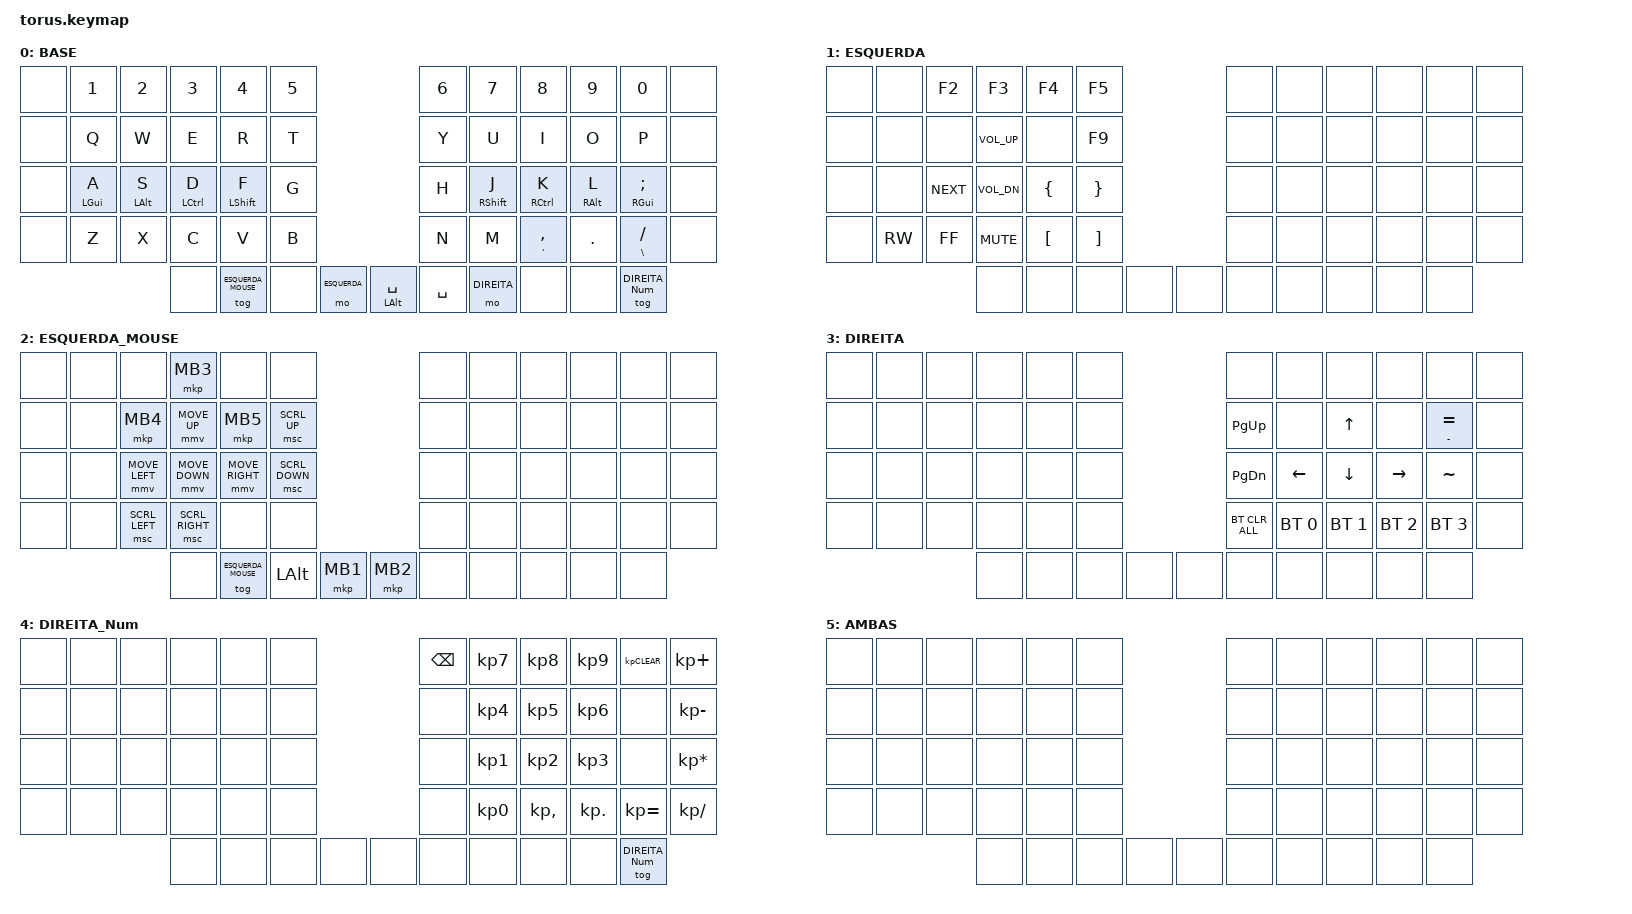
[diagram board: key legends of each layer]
//Inicio das incluçoes

#include <behaviors.dtsi>
#include <dt-bindings/zmk/bt.h>
#include <dt-bindings/zmk/keys.h>
#include <dt-bindings/zmk/pointing.h>
#include <dt-bindings/zmk/pointing.h>
#include <dt-bindings/zmk/pointing.h>

//Fim das incluçoes
//Inicio das definiçoes de configurações
//MOUSE

#define ZMK_POINTING_DEFAULT_MOVE_VAL 1000  // padrão: 600
#define ZMK_POINTING_DEFAULT_SCRL_VAL 20    // padrão: 10

//Fim das definiçoes de configurações
//Inicio das definiçoes das camadas

#define BASE 0
#define ESQUERDA 1
#define ESQUERDA_MOUSE 2
#define DIREITA 3
#define DIREITA_Num 4
#define AMBAS 5

//Fim das definiçoes das camadas
//Inicio dos comportamentos de teclas
//MT = MOD-TAP, se eu tocar o SHIFT pelo tempo menor que delimitei, ele vira o caps_word, caso eu continue pressionando o shift, ele se mantem como shift 

&mt {
    flavor = "tap-preferred";
    tapping-term-ms = <250>;
    require-prior-idle-ms = <125>;
    quick-tap-ms = <100>;
};

//SK = 

&sk {
    release-after-ms = <2000>;
    quick-release;
};

//Fim dos comportamentos de teclas

/ {
    // Ative a camada 'AMBAS' pressionando DIREITA e ESQUERDA

    conditional_layers {
        compatible = "zmk,conditional-layers";

        AMBAS_layer {
            if-layers = <ESQUERDA  DIREITA>;
            then-layer = <AMBAS>;
        };
    };

    //Fim
    //Inicio  Combos

    combos {
        compatible = "zmk,combos";

        Backspace-Dir {
            timeout-ms = <30>;
            bindings = <&kp BACKSPACE>;
            key-positions = <22 21>;
        };

        CapsLock {
            timeout-ms = <30>;
            key-positions = <25 13>;
            bindings = <&kp CAPSLOCK>;
        };

        Sen1 {
            bindings = <&Sen1>;
            key-positions = <16 15 29>;
            layers = <1>;
        };

        Enter-Dir {
            bindings = <&kp ENTER>;
            key-positions = <18 19>;
            layers = <3>;
        };

        Desfazazer {
            bindings = <&kp LC(Z)>;
            key-positions = <37 38>;
            layers = <1>;
        };

        Refazer {
            bindings = <&kp LC(Y)>;
            key-positions = <38 37 39>;
            layers = <1>;
        };

        Copiar {
            bindings = <&kp LC(C)>;
            key-positions = <38 39>;
            layers = <1>;
        };

        Colar {
            bindings = <&kp LC(V)>;
            key-positions = <40 39>;
            layers = <1>;
        };

        Recortar {
            bindings = <&kp LC(X)>;
            key-positions = <38 39 40>;
        };

        Selecionar_Tudo {
            bindings = <&kp LC(A)>;
            key-positions = <37 25>;
            layers = <1>;
        };

        Esc {
            bindings = <&kp ESC>;
            key-positions = <25 26>;
            layers = <1>;
        };

        Delete-Dir {
            bindings = <&kp DELETE>;
            key-positions = <22 21 20>;
            layers = <3>;
        };

        Delete-Esq {
            bindings = <&kp DELETE>;
            key-positions = <13 14 15>;
            layers = <1>;
        };

        Backspace-Esq {
            bindings = <&kp BACKSPACE>;
            key-positions = <13 14>;
        };

        Enter-Esq {
            bindings = <&kp ENTER>;
            key-positions = <17 16>;
            layers = <1>;
        };

        tab {
            bindings = <&kp TAB>;
            key-positions = <41 40>;
        };
    };

    //Fim
    //inicio macro

    macros {
        Sen1: Sen1 {
            compatible = "zmk,behavior-macro";
            #binding-cells = <0>;
            bindings =
                <&macro_tap>,
                <&kp AT &kp LS(K) &kp O &kp LS(D) &kp A &kp UNDER &kp LS(M) &kp A &kp S &kp LS(T) &kp E &kp R &kp EXCL &kp N6 &kp N4 &kp N2 &kp N8 &kp N9 &kp N0>;

            label = "SEN1";
        };
    };

    //fim macro

    keymap {
        compatible = "zmk,keymap";

        // Inicio do Layout BASE

        default_layer {
            display-name = "BASE";

            // ┌───────┬─────┬─────┬─────┬─────┬─────┐                                        ┌─────┬─────┬────┬─────┬─────┬─────┐
            // │ ESC   │  1  |  2  |  3  |  4  |  5  |                                        │  6  │  7  |  8 |  9  |  0  |PG UP|
            // ├───────┼─────┼─────┼─────┼─────┼─────┤                                        ├─────┼─────┼────┼─────┼─────┼─────┤
            // │ TAB   |  Q  |  W  |  E  |  R  |  T  |                                        │  Y  |  U  |  I |  O  |  P  |PG DN|
            // ├───────┼─────┼─────┼─────┼─────┼─────┤                                        ├─────┼─────┼────┼─────┼─────┼─────┤
            // │ SHIFT |  A  |  S  |  D  |  F  |  G  |                                        │  H  |  J  |  K |  L  | ; : |' "" |
            // ├───────┼─────┼─────┼─────┼─────┼─────┤                                        ├─────┼─────┼────┼─────┼─────┼─────┤
            // │ CTRL  |  Z  |  X  |  C  |  V  |  B  |                                        │  N  |  M  | , <| . > | / ? |SHIFT|
            // └───────┼─────┼─────┼─────┼─────┼─────┤                                        ├─────┼─────┼────┼─────┼─────┼─────┘
            //         | WIN |MOUSE| ALT |ESQRD|SPAÇO|                                        │SPAÇO|DIRTA|CTRL| ALT |DTNUM|
            //         └─────┴─────┴─────┴─────┴─────┘                                        └─────┴─────┴────┴─────┴─────┘

            bindings = <
&none  &kp N1          &kp N2          &kp N3              &kp N4               &kp N5                                               &kp N6       &kp N7             &kp N8               &kp N9            &kp N0              &none
&none  &kp Q           &kp W           &kp E               &kp R                &kp T                                                &kp Y        &kp U              &kp I                &kp O             &kp P               &none
&none  &mt LEFT_GUI A  &mt LEFT_ALT S  &mt LEFT_CONTROL D  &mt LEFT_SHIFT F     &kp G                                                &kp H        &mt RIGHT_SHIFT J  &mt RIGHT_CONTROL K  &mt RIGHT_ALT L   &mt RIGHT_GUI SEMI  &none
&none  &kp Z           &kp X           &kp C               &kp V                &kp B                                                &kp N        &kp M              &mt SQT COMMA        &kp DOT           &mt BSLH FSLH       &none
                                       &none               &tog ESQUERDA_MOUSE  &none   &mo ESQUERDA  &mt LEFT_ALT SPACE  &kp SPACE  &mo DIREITA  &none              &none                &tog DIREITA_Num
            >;
        };

        // Fim do Layout BASE
        // Inicio do Layout ESQUERDA

        ESQUERDA_layer {
            display-name = "ESQUERDA";

            // ┌───────┬─────┬────┬─────┬─────┬─────┐                                   ┌───────┬─────┬────┬─────┬─────┬─────┐
            // │       │     | F2 | F3  | F4  | F5  |                                   │       │     |    |     |     |     |
            // ├───────┼─────┼────┼─────┼─────┼─────┤                                   ├───────┼─────┼────┼─────┼─────┼─────┤
            // │ CAPS  | ►⫼  |    | ◄)) |     |  ↲  |                                   │       |     |    |     |     |     |
            // ├───────┼─────┼────┼─────┼─────┼─────┤                                   ├───────┼─────┼────┼─────┼─────┼─────┤
            // │ SHIFT |  «  |  » | ◄)  |  {  |  }  |                                   │       |     |    |     |     |     |
            // ├───────┼─────┼────┼─────┼─────┼─────┤                                   ├───────┼─────┼────┼─────┼─────┼─────┤
            // │ CTRL  |  «« | »» | ◄x  |  [  |  ]  |                                   │       |     |    |     |     |     |
            // └───────┼─────┼────┼─────┼─────┼─────┤                                   ├───────┼─────┼────┼─────┼─────┼─────┘
            //         |     |    |     |     |     |                                   │       |     |    |     |     |
            //         └─────┴────┴─────┴─────┴─────┘                                   └───────┴─────┴────┴─────┴─────┘

            bindings = <
&none  &none     &kp F2      &kp F3        &kp F4    &kp F5                         &none  &none  &none  &none  &none  &none
&none  &none     &none       &kp C_VOL_UP  &none     &kp F9                         &none  &none  &none  &none  &none  &none
&none  &none     &kp C_NEXT  &kp C_VOL_DN  &kp LBRC  &kp RBRC                       &none  &none  &none  &none  &none  &none
&none  &kp C_RW  &kp C_FF    &kp C_MUTE    &kp LBKT  &kp RBKT                       &none  &none  &none  &none  &none  &none
                             &none         &none     &none     &none  &none  &none  &none  &none  &none  &none
            >;
        };

        // Fim do Layout ESQUERDA
        // Inicio do Layout ESQUERDA_MOUSE

        ESQUERDA_MOUSE_layer {
            display-name = "ESQUERDA_MOUSE";

            // ┌───────┬─────┬─────┬─────┬─────┬─────┐                                                          ┌───────┬─────┬────┬─────┬─────┬─────┐
            // │ ESC   │     |     |MEIO |     |     |                                                          │       │     |    |     |     |     |
            // ├───────┼─────┼─────┼─────┼─────┼─────┤                                                          ├───────┼─────┼────┼─────┼─────┼─────┤
            // │ TAB   |     | B4  |  ▲  |  B5 |ROL ▲|                                                          │       |     |    |     |     |     |
            // ├───────┼─────┼─────┼─────┼─────┼─────┤                                                          ├───────┼─────┼────┼─────┼─────┼─────┤
            // │ SHIFT |     |  ◄  |  ▼  |  ►  |ROL ▼|                                                          │       |     |    |     |     |     |
            // ├───────┼─────┼─────┼─────┼─────┼─────┤                                                          ├───────┼─────┼────┼─────┼─────┼─────┤
            // │ CTRL  |     |ROL◄ |ROL ►|     |     |                                                          │       |     |    |     |     |     |
            // └───────┼─────┼─────┼─────┼─────┼─────┤                                                          ├───────┼─────┼────┼─────┼─────┼─────┘
            //         |     |MOUSE| ALT |ESQRD|DIRTA|                                                          │       |     |    |     |     |
            //         └─────┴─────┴─────┴─────┴─────┘                                                          └───────┴─────┴────┴─────┴─────┘

            bindings = <
&none  &none  &none           &mkp MB3         &none                &none                                      &none  &none  &none  &none  &none  &none
&none  &none  &mkp MB4        &mmv MOVE_UP     &mkp MB5             &msc SCRL_UP                               &none  &none  &none  &none  &none  &none
&none  &none  &mmv MOVE_LEFT  &mmv MOVE_DOWN   &mmv MOVE_RIGHT      &msc SCRL_DOWN                             &none  &none  &none  &none  &none  &none
&none  &none  &msc SCRL_LEFT  &msc SCRL_RIGHT  &none                &none                                      &none  &none  &none  &none  &none  &none
                              &none            &tog ESQUERDA_MOUSE  &kp LALT        &mkp MB1  &mkp MB2  &none  &none  &none  &none  &none
            >;
        };

        // Fim do Layout ESQUERDA_MOUSE
        // Inicio do Layout DIREITAL

        DIREITA_layer {
            display-name = "DIREITA";

            // ┌───────┬─────┬────┬─────┬─────┬─────┐               ┌───────┬─────┬─────┬─────┬─────┬─────┐
            // │       │     |    |     |     |     |               │BT CLR │ BT1 | BT2 | BT3 | BT4 | = + |
            // ├───────┼─────┼────┼─────┼─────┼─────┤               ├───────┼─────┼─────┼─────┼─────┼─────┤
            // │       |     |    |     |     |     |               │ PG UP |  ←  |  ▲  | DEL |     |  -  |
            // ├───────┼─────┼────┼─────┼─────┼─────┤               ├───────┼─────┼─────┼─────┼─────┼─────┤
            // │       |     |    |     |     |     |               │ PG DN |  ◄  |  ▼  |  ►  |     |  ~  |
            // ├───────┼─────┼────┼─────┼─────┼─────┤               ├───────┼─────┼─────┼─────┼─────┼─────┤
            // │       |     |    |     |     |     |               │       |     |     |     | \ | |     |
            // └───────┼─────┼────┼─────┼─────┼─────┤               ├───────┼─────┼─────┼─────┼─────┼─────┘
            //         |     |    |     |     |     |               │       |     |     |     |     |
            //         └─────┴────┴─────┴─────┴─────┘               └───────┴─────┴─────┴─────┴─────┘

            bindings = <
&none  &none  &none  &none  &none  &none                       &none           &none         &none         &none         &none            &none
&none  &none  &none  &none  &none  &none                       &kp PG_UP       &none         &kp UP        &none         &mt MINUS EQUAL  &none
&none  &none  &none  &none  &none  &none                       &kp PG_DN       &kp LEFT      &kp DOWN      &kp RIGHT     &kp TILDE        &none
&none  &none  &none  &none  &none  &none                       &bt BT_CLR_ALL  &bt BT_SEL 0  &bt BT_SEL 1  &bt BT_SEL 2  &bt BT_SEL 3     &none
                     &none  &none  &none  &none  &none  &none  &none           &none         &none         &none
            >;
        };

        // Fim do Layout DIREITA
        // Inicio do Layout DIREITA_Numerico

        DIREITA_Num_layer {
            display-name = "DIREITA_Num";

            // ┌───────┬─────┬────┬─────┬─────┬─────┐               ┌───────┬─────┬─────┬─────┬─────┬─────┐
            // │       │     |    |     |     |     |               │   ←   │  7  |  8  |  9  | CLR |  +  |
            // ├───────┼─────┼────┼─────┼─────┼─────┤               ├───────┼─────┼─────┼─────┼─────┼─────┤
            // │       |     |    |     |     |     |               │       |  4  |  5  |  6  |     |  -  |
            // ├───────┼─────┼────┼─────┼─────┼─────┤               ├───────┼─────┼─────┼─────┼─────┼─────┤
            // │       |     |    |     |     |     |               │       |  1  |  2  |  3  |     |  *  |
            // ├───────┼─────┼────┼─────┼─────┼─────┤               ├───────┼─────┼─────┼─────┼─────┼─────┤
            // │       |     |    |     |     |     |               │       |  0  |  ,  |  .  |  =  |  /  |
            // └───────┼─────┼────┼─────┼─────┼─────┤               ├───────┼─────┼─────┼─────┼─────┼─────┘
            //         |     |    |     |     |     |               │       |     |     |     |     |
            //         └─────┴────┴─────┴─────┴─────┘               └───────┴─────┴─────┴─────┴─────┘

            bindings = <
&none  &none  &none  &none  &none  &none                       &kp BSPC  &kp KP_N7  &kp KP_N8     &kp KP_N9         &kp KP_CLEAR  &kp KP_PLUS
&none  &none  &none  &none  &none  &none                       &none     &kp KP_N4  &kp KP_N5     &kp KP_N6         &none         &kp KP_MINUS
&none  &none  &none  &none  &none  &none                       &none     &kp KP_N1  &kp KP_N2     &kp KP_N3         &none         &kp KP_MULTIPLY
&none  &none  &none  &none  &none  &none                       &none     &kp KP_N0  &kp KP_COMMA  &kp KP_DOT        &kp KP_EQUAL  &kp KP_DIVIDE
                     &none  &none  &none  &none  &none  &none  &none     &none      &none         &tog DIREITA_Num
            >;
        };

        // Fim do Layout DIREITA_Numerico
        // Inicio do Layout AMBAS (NÃO ESTA FUNCIONANDO)

        AMBAS_layer {
            display-name = "AMBAS";

            // ┌───────┬─────┬────┬─────┬─────┬─────┐               ┌───────┬─────┬────┬─────┬─────┬─────┐
            // │       │     |    |     |     |     |               │       │     |    |     |     |     |
            // ├───────┼─────┼────┼─────┼─────┼─────┤               ├───────┼─────┼────┼─────┼─────┼─────┤
            // │       |     |    |     |     |     |               │       |     |    |     |     |     |
            // ├───────┼─────┼────┼─────┼─────┼─────┤               ├───────┼─────┼────┼─────┼─────┼─────┤
            // │       |     |    |     |     |     |               │       |     |    |     |     |     |
            // ├───────┼─────┼────┼─────┼─────┼─────┤               ├───────┼─────┼────┼─────┼─────┼─────┤
            // │       |     |    |     |     |     |               │       |     |    |     |     |     |
            // └───────┼─────┼────┼─────┼─────┼─────┤               ├───────┼─────┼────┼─────┼─────┼─────┘
            //         |     |    |     |     |     |               │       |     |    |     |     |
            //         └─────┴────┴─────┴─────┴─────┘               └───────┴─────┴────┴─────┴─────┘

            bindings = <
&none  &none  &none  &none  &none  &none                       &none  &none  &none  &none  &none  &none
&none  &none  &none  &none  &none  &none                       &none  &none  &none  &none  &none  &none
&none  &none  &none  &none  &none  &none                       &none  &none  &none  &none  &none  &none
&none  &none  &none  &none  &none  &none                       &none  &none  &none  &none  &none  &none
                     &none  &none  &none  &none  &none  &none  &none  &none  &none  &none
            >;
        };

        // Fim do Layout AMBAS
    };
};
